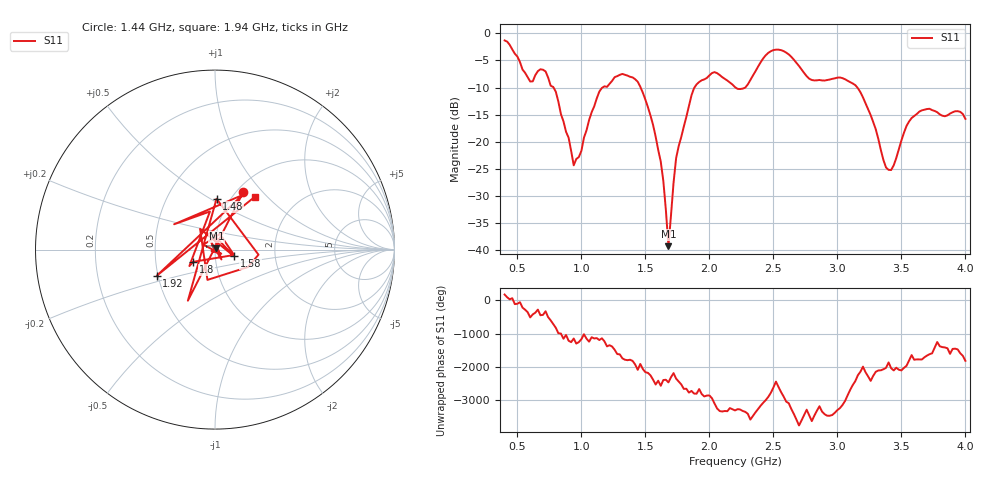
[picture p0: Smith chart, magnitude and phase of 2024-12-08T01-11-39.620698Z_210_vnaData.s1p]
!Created with skrf (http://scikit-rf.org).
# Hz S RI R 50.0
!freq ReS11 ImS11
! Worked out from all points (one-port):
!   181 points, 400 MHz to 4 GHz, reference 50 ohm
!   lowest |S11| = -39.3 dB at 1.68 GHz (marker M1), VSWR 1.02, Z = 50.8 + j0.775 ohm
!   |S11| at or under -10 dB: 782.4 MHz to 1.165 GHz (382.3 MHz wide, 39.3 % of centre); 1.463 GHz to 1.883 GHz (420.1 MHz wide, 25.1 % of centre); 3.156 GHz to end of sweep (the widest 3 of 4)
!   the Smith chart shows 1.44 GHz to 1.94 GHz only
!   S11 on the Smith chart (normalised r, x): 1.44 GHz: 1.07, +0.79; 1.48 GHz: 0.87, +0.53; 1.58 GHz: 1.23, -0.09; 1.8 GHz: 0.78, -0.11; 1.92 GHz: 0.49, -0.16; 1.94 GHz: 1.25, +0.85
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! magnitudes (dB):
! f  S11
! 400 MHz  -1.3
! 600 MHz  -8.9
! 720 MHz  -7.0
! 860 MHz  -16.3
! 940 MHz  -24.4
! 1.14 GHz  -10.7
! 1.3 GHz  -7.7
! 1.44 GHz  -8.9
! 1.48 GHz  -11.0
! 1.58 GHz  -19.0
! 1.64 GHz  -27.3
! 1.68 GHz  -39.3
! 1.72 GHz  -27.6
! 1.76 GHz  -20.8
! 1.8 GHz  -17.2
! 1.92 GHz  -9.0
! 1.94 GHz  -8.7
! 2.2 GHz  -9.9
! 2.28 GHz  -10.0
! 2.48 GHz  -3.3
! 2.66 GHz  -4.9
! 2.8 GHz  -8.6
! 3.1 GHz  -9.0
! 3.2 GHz  -11.8
! 3.4 GHz  -25.2
! 3.56 GHz  -16.3
! 3.72 GHz  -13.9
! 4 GHz  -15.8
